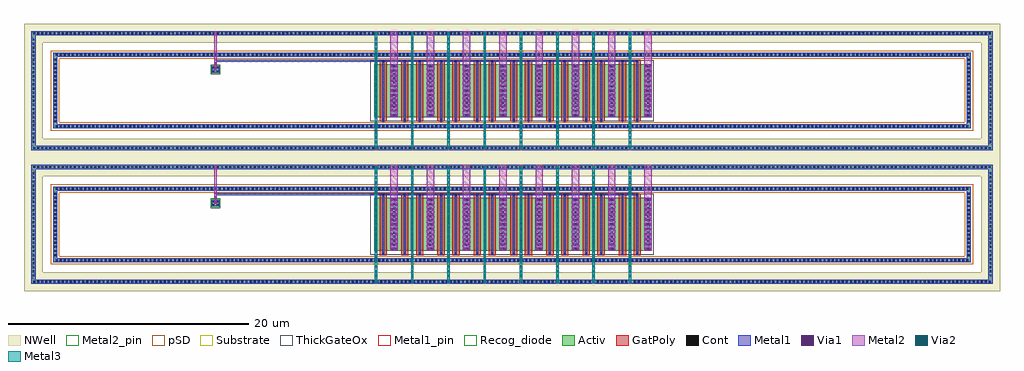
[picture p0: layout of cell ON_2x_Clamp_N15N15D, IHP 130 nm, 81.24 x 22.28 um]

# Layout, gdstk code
import gdstk
lib = gdstk.Library(unit=1e-6, precision=1e-09)
def R(c, l, rs):  # rectangles x0, y0, x1, y1
    for r in rs: c.add(gdstk.rectangle(r[:2], r[2:], *l))
def A(c, l, x, y, w, h, nx, ny, dx, dy):  # array of equal rectangles
    R(c, l, [(x+i*dx, y+j*dy, x+i*dx+w, y+j*dy+h) for i in range(nx) for j in range(ny)])
def P(c, l, *ps):  # polygons
    for p in ps: c.add(gdstk.Polygon(p, *l))
Activ = (1, 0)
GatPoly = (5, 0)
Cont = (6, 0)
Metal1 = (8, 0)
Metal1_pin = (8, 2)
Metal2 = (10, 0)
Metal2_pin = (10, 2)
pSD = (14, 0)
Via1 = (19, 0)
Via2 = (29, 0)
Metal3 = (30, 0)
NWell = (31, 0)
Substrate = (40, 0)
ThickGateOx = (44, 0)
Recog_diode = (99, 31)

sg13cmos5l_clamp_n15n15d = lib.new_cell('sg13cmos5l_Clamp_N15N15D')
R(sg13cmos5l_clamp_n15n15d, Activ, [(28.525,2.75,51.475,7.15), (14.93,6.315,15.71,7.095)])
P(sg13cmos5l_clamp_n15n15d, Activ, [(1.8,1.8),(1.8,7.76),(2.14,7.76),(2.14,2.14),(77.86,2.14),(77.86,7.76),(1.8,7.76),(1.8,8.1),(78.2,8.1),(78.2,1.8)],
  [(0,0),(0,9.56),(0.34,9.56),(0.34,0.34),(79.66,0.34),(79.66,9.56),(0,9.56),(0,9.9),(80,9.9),(80,0)])
R(sg13cmos5l_clamp_n15n15d, GatPoly, [(28.995,2.38,29.595,7.52), (30.775,2.38,31.375,7.52), (32.015,2.38,32.615,7.52), (33.795,2.38,34.395,7.52), (35.035,2.38,35.635,7.52), (36.815,2.38,37.415,7.52), (38.055,2.38,38.655,7.52), (39.835,2.38,40.435,7.52), (41.075,2.38,41.675,7.52), (42.855,2.38,43.455,7.52), (44.095,2.38,44.695,7.52), (45.875,2.38,46.475,7.52), (47.115,2.38,47.715,7.52), (48.895,2.38,49.495,7.52), (50.135,2.38,50.735,7.52)])
A(sg13cmos5l_clamp_n15n15d, Cont, 0.14, 0.09, 0.16, 0.16, 235, 2, 0.34, 9.56)
A(sg13cmos5l_clamp_n15n15d, Cont, 0.09, 0.62, 0.16, 0.16, 1, 26, 0, 0.34)
A(sg13cmos5l_clamp_n15n15d, Cont, 79.75, 0.62, 0.16, 0.16, 1, 26, 0, 0.34)
A(sg13cmos5l_clamp_n15n15d, Cont, 2.01, 1.89, 0.16, 0.16, 224, 2, 0.34, 5.96)
A(sg13cmos5l_clamp_n15n15d, Cont, 1.89, 2.32, 0.16, 0.16, 1, 16, 0, 0.34)
A(sg13cmos5l_clamp_n15n15d, Cont, 77.95, 2.32, 0.16, 0.16, 1, 16, 0, 0.34)
A(sg13cmos5l_clamp_n15n15d, Cont, 28.595, 2.83, 0.16, 0.16, 16, 13, 1.51, 0.34)
R(sg13cmos5l_clamp_n15n15d, Cont, [(29.215,2.45,29.375,2.61), (30.995,2.45,31.155,2.61), (32.235,2.45,32.395,2.61), (34.015,2.45,34.175,2.61), (35.255,2.45,35.415,2.61), (37.035,2.45,37.195,2.61), (38.275,2.45,38.435,2.61), (40.055,2.45,40.215,2.61), (41.295,2.45,41.455,2.61), (43.075,2.45,43.235,2.61), (44.315,2.45,44.475,2.61), (46.095,2.45,46.255,2.61), (47.335,2.45,47.495,2.61), (49.115,2.45,49.275,2.61), (50.355,2.45,50.515,2.61), (15.07,6.455,15.23,6.615), (15.41,6.455,15.57,6.615), (15.07,6.795,15.23,6.955), (15.41,6.795,15.57,6.955), (29.215,7.29,29.375,7.45), (30.995,7.29,31.155,7.45), (32.235,7.29,32.395,7.45), (34.015,7.29,34.175,7.45), (35.255,7.29,35.415,7.45), (37.035,7.29,37.195,7.45), (38.275,7.29,38.435,7.45), (40.055,7.29,40.215,7.45), (41.295,7.29,41.455,7.45), (43.075,7.29,43.235,7.45), (44.315,7.29,44.475,7.45), (46.095,7.29,46.255,7.45), (47.335,7.29,47.495,7.45), (49.115,7.29,49.275,7.45), (50.355,7.29,50.515,7.45)])
A(sg13cmos5l_clamp_n15n15d, Metal1, 28.57, 1.8, 0.21, 0.34, 8, 2, 3.02, 5.96)
A(sg13cmos5l_clamp_n15n15d, Metal1, 28.57, 2.75, 0.21, 4.4, 8, 1, 3.02, 0)
A(sg13cmos5l_clamp_n15n15d, Metal1, 29.875, 2.75, 0.62, 4.4, 8, 1, 3.02, 0)
R(sg13cmos5l_clamp_n15n15d, Metal1, [(15.02,6.455,15.62,6.955)])
P(sg13cmos5l_clamp_n15n15d, Metal1, [(29.215,2.37),(29.215,7.37),(15.435,7.37),(15.435,6.5),(15.225,6.5),(15.225,7.53),(50.515,7.53),(50.515,2.37),(50.355,2.37),(50.355,7.37),(49.275,7.37),(49.275,2.37),(49.115,2.37),(49.115,7.37),(47.495,7.37),(47.495,2.37),(47.335,2.37),(47.335,7.37),(46.255,7.37),(46.255,2.37),(46.095,2.37),(46.095,7.37),(44.475,7.37),(44.475,2.37),(44.315,2.37),(44.315,7.37),(43.235,7.37),(43.235,2.37),(43.075,2.37),(43.075,7.37),(41.455,7.37),(41.455,2.37),(41.295,2.37),(41.295,7.37),(40.215,7.37),(40.215,2.37),(40.055,2.37),(40.055,7.37),(38.435,7.37),(38.435,2.37),(38.275,2.37),(38.275,7.37),(37.195,7.37),(37.195,2.37),(37.035,2.37),(37.035,7.37),(35.415,7.37),(35.415,2.37),(35.255,2.37),(35.255,7.37),(34.175,7.37),(34.175,2.37),(34.015,2.37),(34.015,7.37),(32.395,7.37),(32.395,2.37),(32.235,2.37),(32.235,7.37),(31.155,7.37),(31.155,2.37),(30.995,2.37),(30.995,7.37),(29.375,7.37),(29.375,2.37)],
  [(1.8,1.8),(1.8,7.76),(2.14,7.76),(2.14,2.14),(77.86,2.14),(77.86,7.76),(1.8,7.76),(1.8,8.1),(78.2,8.1),(78.2,1.8)],
  [(0,0),(0,9.56),(0.34,9.56),(0.34,0.34),(79.66,0.34),(79.66,9.56),(0,9.56),(0,9.9),(80,9.9),(80,0)])
R(sg13cmos5l_clamp_n15n15d, Metal1_pin, [(2.427,7.781,4.005,8.069)])
A(sg13cmos5l_clamp_n15n15d, Metal2, 28.575, 0, 0.2, 9.9, 8, 1, 3.02, 0)
A(sg13cmos5l_clamp_n15n15d, Metal2, 29.88, 2.755, 0.61, 7.145, 8, 1, 3.02, 0)
R(sg13cmos5l_clamp_n15n15d, Metal2, [(15.23,6.665,15.43,9.9)])
A(sg13cmos5l_clamp_n15n15d, Metal2_pin, 29.88, 2.755, 0.61, 7.145, 8, 1, 3.02, 0)
R(sg13cmos5l_clamp_n15n15d, Metal2_pin, [(15.23,6.665,15.43,9.9)])
P(sg13cmos5l_clamp_n15n15d, pSD, [(1.62,1.62),(1.62,7.58),(2.32,7.58),(2.32,2.32),(77.68,2.32),(77.68,7.58),(1.62,7.58),(1.62,8.28),(78.38,8.28),(78.38,1.62)])
A(sg13cmos5l_clamp_n15n15d, Via1, 28.58, 1.875, 0.19, 0.19, 8, 2, 3.02, 5.96)
A(sg13cmos5l_clamp_n15n15d, Via1, 28.58, 2.805, 0.19, 0.19, 1, 11, 0, 0.41)
A(sg13cmos5l_clamp_n15n15d, Via1, 29.885, 2.805, 0.19, 0.19, 1, 11, 0, 0.41)
A(sg13cmos5l_clamp_n15n15d, Via1, 30.295, 2.805, 0.19, 0.19, 3, 11, 1.305, 0.41)
A(sg13cmos5l_clamp_n15n15d, Via1, 33.315, 2.805, 0.19, 0.19, 3, 11, 1.305, 0.41)
A(sg13cmos5l_clamp_n15n15d, Via1, 36.335, 2.805, 0.19, 0.19, 3, 11, 1.305, 0.41)
A(sg13cmos5l_clamp_n15n15d, Via1, 39.355, 2.805, 0.19, 0.19, 3, 11, 1.305, 0.41)
A(sg13cmos5l_clamp_n15n15d, Via1, 42.375, 2.805, 0.19, 0.19, 3, 11, 1.305, 0.41)
A(sg13cmos5l_clamp_n15n15d, Via1, 45.395, 2.805, 0.19, 0.19, 3, 11, 1.305, 0.41)
A(sg13cmos5l_clamp_n15n15d, Via1, 48.415, 2.805, 0.19, 0.19, 3, 11, 1.305, 0.41)
A(sg13cmos5l_clamp_n15n15d, Via1, 51.435, 2.805, 0.19, 0.19, 1, 11, 0, 0.41)
R(sg13cmos5l_clamp_n15n15d, Via1, [(15.235,6.715,15.425,6.905), (15.235,7.125,15.425,7.315)])
A(sg13cmos5l_clamp_n15n15d, Via2, 28.58, 0.14, 0.19, 0.19, 8, 24, 3.02, 0.41)
A(sg13cmos5l_clamp_n15n15d, Metal3, 28.575, 0.09, 0.2, 9.72, 8, 1, 3.02, 0)
P(sg13cmos5l_clamp_n15n15d, NWell, [(-0.62,-0.62),(-0.62,8.94),(0.96,8.94),(0.96,0.96),(79.04,0.96),(79.04,8.94),(-0.62,8.94),(-0.62,10.52),(80.62,10.52),(80.62,-0.62)])
P(sg13cmos5l_clamp_n15n15d, Substrate, [(1.8,1.8),(1.8,7.76),(2.14,7.76),(2.14,2.14),(77.86,2.14),(77.86,7.76),(1.8,7.76),(1.8,8.1),(78.2,8.1),(78.2,1.8)])
R(sg13cmos5l_clamp_n15n15d, ThickGateOx, [(28.185,2.41,51.815,7.49)])
R(sg13cmos5l_clamp_n15n15d, Recog_diode, [(14.91,6.295,15.73,7.115)])
sg13cmos5l_clamp_n15n15d.add(gdstk.Label('dant', (15.32,6.705), layer=63, texttype=0))
sg13cmos5l_clamp_n15n15d.add(gdstk.Label('sub!', (1.97,1.97), layer=63, texttype=0))
sg13cmos5l_clamp_n15n15d.add(gdstk.Label('iovss', (3.122,7.934), layer=8, texttype=25))
sg13cmos5l_clamp_n15n15d.add(gdstk.Label('pad', (30.185,6.328), layer=10, texttype=25))
sg13cmos5l_clamp_n15n15d.add(gdstk.Label('gate', (15.33,8.282), layer=10, texttype=25))
sg13cmos5l_clamp_n15n15d.add(gdstk.Label('pad', (36.2,7.31), layer=10, texttype=25))
sg13cmos5l_clamp_n15n15d.add(gdstk.Label('pad', (33.14,7.42), layer=10, texttype=25))
sg13cmos5l_clamp_n15n15d.add(gdstk.Label('pad', (39.235,7.375), layer=10, texttype=25))
sg13cmos5l_clamp_n15n15d.add(gdstk.Label('pad', (42.22,7.57), layer=10, texttype=25))
sg13cmos5l_clamp_n15n15d.add(gdstk.Label('pad', (45.23,7.67), layer=10, texttype=25))
sg13cmos5l_clamp_n15n15d.add(gdstk.Label('pad', (48.305,7.825), layer=10, texttype=25))
sg13cmos5l_clamp_n15n15d.add(gdstk.Label('pad', (51.345,8.22), layer=10, texttype=25))

on_2x_clamp_n15n15d = lib.new_cell('ON_2x_Clamp_N15N15D')
on_2x_clamp_n15n15d.add(gdstk.Reference(sg13cmos5l_clamp_n15n15d, (0,0)))
on_2x_clamp_n15n15d.add(gdstk.Reference(sg13cmos5l_clamp_n15n15d, (0,11.14)))

lib.write_gds('ON_2x_Clamp_N15N15D.gds')
